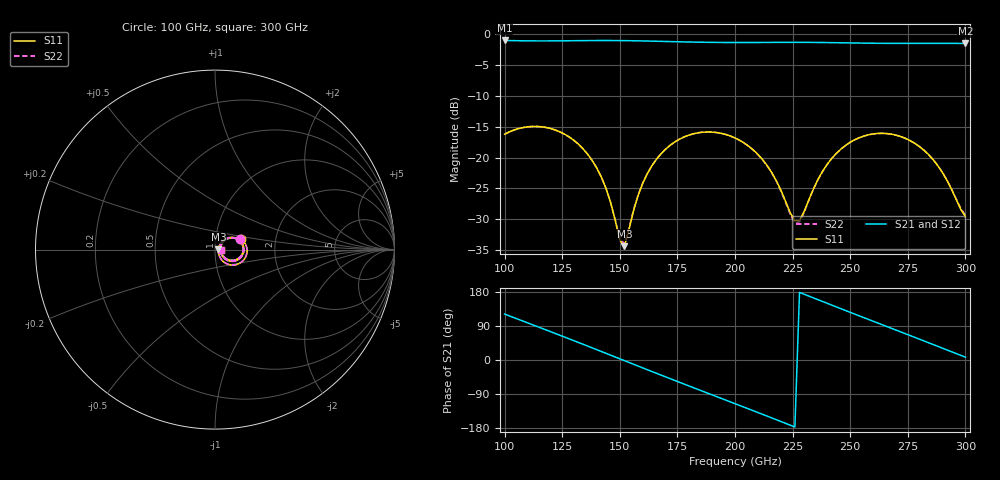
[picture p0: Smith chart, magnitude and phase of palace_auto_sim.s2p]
#  GHZ S DB R 50
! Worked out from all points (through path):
!   101 points, 100 GHz to 300 GHz, reference 50 ohm
!   highest |S21| = -1.01 dB at 100 GHz (marker M1); lowest = -1.5 dB at 300 GHz (marker M2)
!   group delay of S21, straight-line fit = 6.59 ps
!   lowest |S11| = -34.4 dB at 152 GHz (marker M3), VSWR 1.04, Z = 51.9 + j0.23 ohm
!   |S11| at or under -10 dB: start of sweep to end of sweep
!   |S22| runs from -33.9 to -15.0 dB; largest |S21 - S12| = 1.5e-13
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100  -16.21 23.3  -1.01 121.2  -1.01 121.2  -16.23 23.5
116  -15.00 -9.7  -1.08 84.0  -1.08 84.0  -15.01 -9.5
124  -15.82 -26.2  -1.07 65.3  -1.07 65.3  -15.84 -26.0
134  -18.55 -45.8  -1.04 41.6  -1.04 41.6  -18.57 -45.5
142  -23.17 -57.3  -1.02 22.4  -1.02 22.4  -23.18 -56.7
146  -27.27 -56.3  -1.02 12.8  -1.02 12.8  -27.24 -55.3
150  -33.39 -30.0  -1.03 3.1  -1.03 3.1  -33.12 -28.4
152  -34.36 6.6  -1.04 -1.7  -1.04 -1.7  -33.94 6.6
160  -24.13 49.1  -1.09 -20.9  -1.09 -20.9  -24.07 48.1
168  -19.34 39.1  -1.16 -40.1  -1.16 -40.1  -19.32 38.4
184  -15.97 8.9  -1.29 -77.8  -1.29 -77.8  -15.98 8.3
200  -16.81 -21.3  -1.34 -115.2  -1.34 -115.2  -16.83 -21.9
214  -21.31 -41.6  -1.33 -148.2  -1.33 -148.2  -21.37 -42.4
226  -30.26 -8.8  -1.31 -176.8  -1.31 -176.8  -30.56 -9.1
228  -30.16 11.6  -1.31 178.4  -1.31 178.4  -30.44 12.2
234  -25.11 41.7  -1.33 164.0  -1.33 164.0  -25.17 42.5
248  -18.02 30.3  -1.40 130.6  -1.40 130.6  -18.03 30.5
258  -16.29 12.0  -1.45 106.9  -1.45 106.9  -16.30 12.2
268  -16.21 -7.1  -1.48 83.4  -1.48 83.4  -16.21 -7.0
276  -17.25 -21.8  -1.48 64.6  -1.48 64.6  -17.25 -21.6
286  -20.34 -36.8  -1.48 40.8  -1.48 40.8  -20.33 -36.4
300  -29.54 -8.4  -1.49 7.4  -1.49 7.4  -29.33 -8.0
